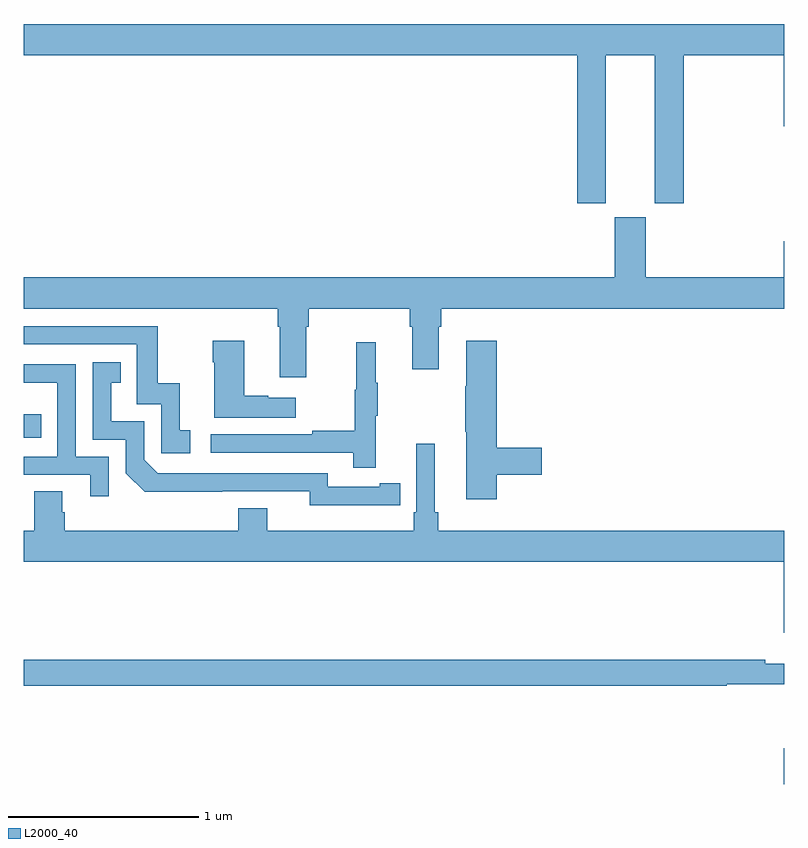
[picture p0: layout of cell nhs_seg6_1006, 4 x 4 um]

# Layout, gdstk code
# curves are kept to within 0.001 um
import gdstk
lib = gdstk.Library(unit=1e-6, precision=1e-09)
def R(c, l, rs):  # rectangles x0, y0, x1, y1
    for r in rs: c.add(gdstk.rectangle(r[:2], r[2:], *l))
def P(c, l, *ps):  # polygons
    for p in ps: c.add(gdstk.Polygon(p, *l))
L2000_40 = (2000, 40)

nhs_seg6_1006 = lib.new_cell('nhs_seg6_1006')
R(nhs_seg6_1006, L2000_40, [(176.996,947.5,177,947.689), (173,949.32,173.093,949.443)])
P(nhs_seg6_1006, L2000_40, [(176.062,951.332),(176.318,951.332),(176.318,950.553),(176.471,950.553),(176.471,951.332),(176.996,951.332),(176.996,950.958),(177,950.958),(177,951.496),(173,951.496),(173,951.332),(175.91,951.332),(175.91,950.553),(176.062,950.553)],
  [(174.487,949.904),(174.5,949.904),(174.5,950),(175.031,950),(175.031,949.904),(175.043,949.904),(175.043,949.68),(175.183,949.68),(175.183,949.904),(175.196,949.904),(175.196,950),(177,950),(177,950.353),(176.996,950.353),(176.996,950.164),(176.272,950.164),(176.272,950.481),(176.108,950.481),(176.108,950.164),(173,950.164),(173,950),(174.335,950),(174.335,949.904),(174.347,949.904),(174.347,949.638),(174.487,949.638)],
  [(173.875,949.359),(173.822,949.359),(173.822,949.606),(173.704,949.606),(173.704,949.908),(173,949.908),(173,949.812),(173.595,949.812),(173.595,949.497),(173.724,949.497),(173.724,949.239),(173.875,949.239)],
  [(175.487,949.126),(175.723,949.126),(175.723,949.268),(175.487,949.268),(175.487,949.831),(175.328,949.831),(175.328,949.592),(175.321,949.592),(175.321,949.351),(175.328,949.351),(175.328,948.996),(175.487,948.996)],
  [(174.43,949.531),(174.287,949.531),(174.287,949.541),(174.16,949.541),(174.16,949.831),(173.995,949.831),(173.995,949.718),(174.002,949.718),(174.002,949.427),(174.43,949.427)],
  [(174.851,949.435),(174.862,949.435),(174.862,949.609),(174.851,949.609),(174.851,949.822),(174.748,949.822),(174.748,949.572),(174.741,949.572),(174.741,949.358),(174.517,949.358),(174.517,949.338),(173.985,949.338),(173.985,949.242),(174.733,949.242),(174.733,949.164),(174.851,949.164)],
  [(174.872,948.966),(174.98,948.966),(174.98,949.082),(174.872,949.082),(174.872,949.062),(174.6,949.062),(174.6,949.134),(173.706,949.134),(173.634,949.206),(173.634,949.407),(173.461,949.407),(173.461,949.611),(173.51,949.611),(173.51,949.717),(173.364,949.717),(173.364,949.311),(173.538,949.311),(173.538,949.134),(173.636,949.037),(174.504,949.038),(174.504,948.965)],
  [(173.448,949.221),(173.274,949.221),(173.274,949.707),(173,949.707),(173,949.61),(173.178,949.61),(173.178,949.221),(173,949.221),(173,949.125),(173.351,949.125),(173.351,949.014),(173.448,949.014)],
  [(177,948.832),(175.181,948.832),(175.181,948.928),(175.162,948.928),(175.162,949.288),(175.065,949.288),(175.065,948.928),(175.052,948.928),(175.052,948.832),(174.28,948.832),(174.28,948.949),(174.128,948.949),(174.128,948.832),(173.216,948.832),(173.216,948.93),(173.203,948.93),(173.203,949.04),(173.056,949.04),(173.056,948.832),(173,948.832),(173,948.668),(176.996,948.668),(176.996,948.294),(177,948.294)],
  [(176.698,948.024),(177,948.024),(177,948.133),(176.9,948.133),(176.9,948.152),(173,948.152),(173,948.016),(176.698,948.016)])

lib.write_gds('nhs_seg6_1006.gds')
